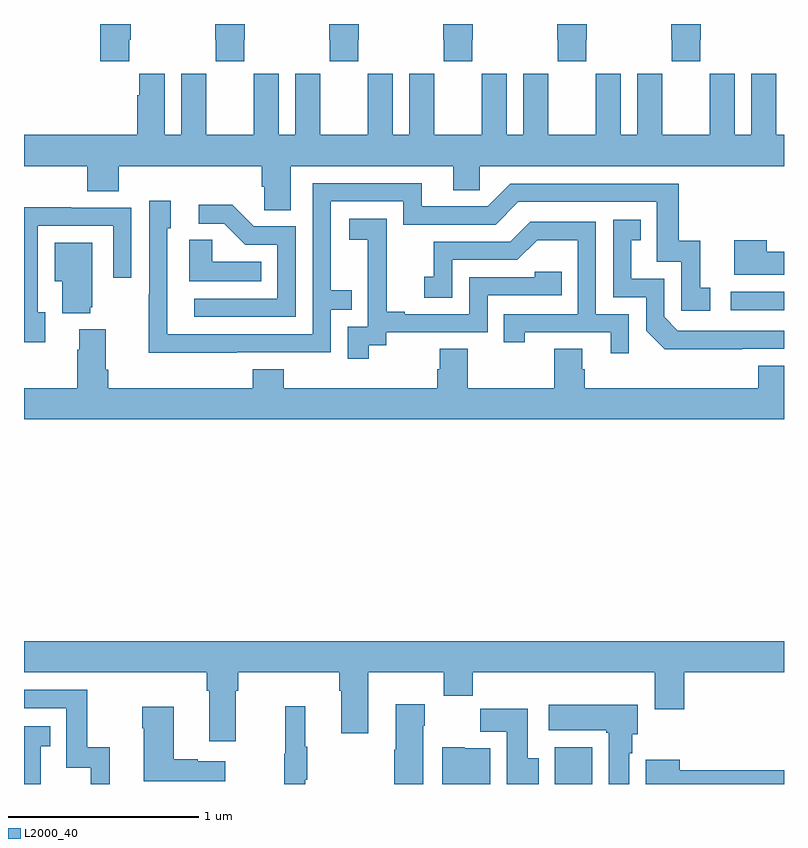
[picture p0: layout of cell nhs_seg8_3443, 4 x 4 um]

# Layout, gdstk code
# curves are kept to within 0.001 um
import gdstk
lib = gdstk.Library(unit=1e-6, precision=1e-09)
def R(c, l, rs):  # rectangles x0, y0, x1, y1
    for r in rs: c.add(gdstk.rectangle(r[:2], r[2:], *l))
def P(c, l, *ps):  # polygons
    for p in ps: c.add(gdstk.Polygon(p, *l))
L2000_40 = (2000, 40)

nhs_seg8_3443 = lib.new_cell('nhs_seg8_3443')
R(nhs_seg8_3443, L2000_40, [(325.793,1127.9,325.99,1128.094), (326.721,1130.394,327,1130.49)])
P(nhs_seg8_3443, L2000_40, [(326.559,1131.817),(326.562,1131.817),(326.562,1131.9),(326.407,1131.9),(326.407,1131.817),(326.409,1131.817),(326.409,1131.705),(326.559,1131.705)],
  [(325.959,1131.817),(325.962,1131.817),(325.962,1131.9),(325.807,1131.9),(325.807,1131.817),(325.809,1131.817),(325.809,1131.705),(325.959,1131.705)],
  [(325.359,1131.817),(325.362,1131.817),(325.362,1131.9),(325.207,1131.9),(325.207,1131.817),(325.209,1131.817),(325.209,1131.705),(325.359,1131.705)],
  [(324.759,1131.817),(324.762,1131.817),(324.762,1131.9),(324.607,1131.9),(324.607,1131.817),(324.609,1131.817),(324.609,1131.705),(324.759,1131.705)],
  [(324.159,1131.817),(324.162,1131.817),(324.162,1131.9),(324.007,1131.9),(324.007,1131.817),(324.009,1131.817),(324.009,1131.705),(324.159,1131.705)],
  [(323.555,1131.817),(323.562,1131.817),(323.562,1131.9),(323.402,1131.9),(323.402,1131.705),(323.555,1131.705)],
  [(324.403,1131.152),(325.259,1131.152),(325.259,1131.025),(325.398,1131.025),(325.398,1131.152),(327,1131.152),(327,1131.316),(326.959,1131.316),(326.959,1131.524),(326.958,1131.524),(326.958,1131.637),(326.828,1131.637),(326.828,1131.316),(326.74,1131.316),(326.74,1131.637),(326.61,1131.637),(326.61,1131.524),(326.609,1131.524),(326.609,1131.316),(326.359,1131.316),(326.359,1131.524),(326.358,1131.524),(326.358,1131.637),(326.228,1131.637),(326.228,1131.316),(326.14,1131.316),(326.14,1131.637),(326.01,1131.637),(326.01,1131.524),(326.009,1131.524),(326.009,1131.316),(325.759,1131.316),(325.759,1131.524),(325.758,1131.524),(325.758,1131.637),(325.628,1131.637),(325.628,1131.316),(325.54,1131.316),(325.54,1131.637),(325.41,1131.637),(325.41,1131.524),(325.409,1131.524),(325.409,1131.316),(325.159,1131.316),(325.159,1131.524),(325.158,1131.524),(325.158,1131.637),(325.028,1131.637),(325.028,1131.316),(324.94,1131.316),(324.94,1131.637),(324.81,1131.637),(324.81,1131.524),(324.809,1131.524),(324.809,1131.316),(324.559,1131.316),(324.559,1131.524),(324.558,1131.524),(324.558,1131.637),(324.428,1131.637),(324.428,1131.316),(324.34,1131.316),(324.34,1131.637),(324.21,1131.637),(324.21,1131.524),(324.209,1131.524),(324.209,1131.316),(323.959,1131.316),(323.959,1131.524),(323.958,1131.524),(323.958,1131.637),(323.828,1131.637),(323.828,1131.316),(323.74,1131.316),(323.74,1131.637),(323.606,1131.637),(323.606,1131.524),(323.597,1131.524),(323.597,1131.316),(323,1131.316),(323,1131.152),(323.333,1131.152),(323.333,1131.019),(323.498,1131.019),(323.498,1131.152),(324.251,1131.152),(324.251,1131.043),(324.264,1131.043),(324.264,1130.92),(324.403,1130.92)],
  [(324.119,1130.172),(324.615,1130.172),(324.615,1130.397),(324.725,1130.397),(324.725,1130.498),(324.615,1130.498),(324.615,1130.967),(324.996,1130.967),(324.996,1130.844),(325.482,1130.844),(325.602,1130.964),(326.331,1130.964),(326.331,1130.649),(326.46,1130.649),(326.46,1130.391),(326.611,1130.391),(326.611,1130.511),(326.558,1130.511),(326.558,1130.758),(326.447,1130.758),(326.447,1131.06),(325.56,1131.06),(325.44,1130.94),(325.093,1130.94),(325.093,1131.063),(324.519,1131.063),(324.519,1130.268),(323.754,1130.268),(323.754,1130.826),(323.773,1130.826),(323.773,1130.971),(323.658,1130.971),(323.658,1130.477),(323.656,1130.477),(323.656,1130.171)],
  [(324.429,1130.835),(324.21,1130.835),(324.097,1130.948),(323.919,1130.948),(323.919,1130.85),(324.053,1130.85),(324.164,1130.739),(324.333,1130.739),(324.333,1130.454),(323.895,1130.454),(323.895,1130.358),(324.429,1130.358)],
  [(323.113,1130.382),(323.073,1130.382),(323.073,1130.838),(323.469,1130.838),(323.469,1130.565),(323.565,1130.565),(323.565,1130.934),(323.249,1130.934),(323.249,1130.936),(323,1130.936),(323,1130.226),(323.113,1130.226)],
  [(324.814,1130.209),(324.906,1130.209),(324.906,1130.277),(325.44,1130.277),(325.44,1130.472),(325.829,1130.472),(325.829,1130.595),(325.689,1130.595),(325.689,1130.568),(325.344,1130.568),(325.344,1130.373),(325.003,1130.373),(325.003,1130.386),(324.908,1130.386),(324.908,1130.669),(324.909,1130.669),(324.909,1130.875),(324.711,1130.875),(324.711,1130.765),(324.809,1130.765),(324.809,1130.537),(324.81,1130.537),(324.81,1130.307),(324.705,1130.307),(324.705,1130.139),(324.814,1130.139)],
  [(326.78,1130.19),(327,1130.19),(327,1130.286),(326.442,1130.286),(326.37,1130.358),(326.37,1130.559),(326.197,1130.559),(326.197,1130.763),(326.246,1130.763),(326.246,1130.869),(326.1,1130.869),(326.1,1130.463),(326.274,1130.463),(326.274,1130.286),(326.372,1130.189)],
  [(326.184,1130.373),(326.01,1130.373),(326.01,1130.859),(325.664,1130.859),(325.559,1130.754),(325.156,1130.754),(325.156,1130.569),(325.107,1130.569),(325.107,1130.46),(325.254,1130.46),(325.254,1130.658),(325.596,1130.658),(325.7,1130.762),(325.914,1130.762),(325.914,1130.373),(325.525,1130.373),(325.525,1130.226),(325.636,1130.226),(325.636,1130.277),(326.087,1130.277),(326.087,1130.166),(326.184,1130.166)],
  [(324.248,1130.65),(323.991,1130.65),(323.991,1130.765),(323.87,1130.765),(323.87,1130.546),(324.248,1130.546)],
  [(327,1130.701),(326.909,1130.701),(326.909,1130.761),(326.738,1130.761),(326.738,1130.579),(327,1130.579)],
  [(323.348,1130.409),(323.359,1130.409),(323.359,1130.749),(323.162,1130.749),(323.162,1130.546),(323.201,1130.546),(323.201,1130.378),(323.348,1130.378)],
  [(327,1130.101),(326.864,1130.101),(326.864,1129.984),(325.952,1129.984),(325.952,1130.082),(325.939,1130.082),(325.939,1130.192),(325.792,1130.192),(325.792,1129.984),(325.335,1129.984),(325.335,1130.192),(325.187,1130.192),(325.187,1130.082),(325.175,1130.082),(325.175,1129.984),(324.368,1129.984),(324.368,1130.083),(324.203,1130.083),(324.203,1129.984),(323.444,1129.984),(323.444,1130.08),(323.431,1130.08),(323.431,1130.293),(323.291,1130.293),(323.291,1130.186),(323.279,1130.186),(323.279,1129.984),(323,1129.984),(323,1129.82),(327,1129.82)],
  [(324.115,1128.392),(324.128,1128.392),(324.128,1128.488),(324.659,1128.488),(324.659,1128.392),(324.671,1128.392),(324.671,1128.168),(324.811,1128.168),(324.811,1128.488),(325.21,1128.488),(325.21,1128.364),(325.361,1128.364),(325.361,1128.488),(326.321,1128.488),(326.321,1128.294),(326.474,1128.294),(326.474,1128.488),(327,1128.488),(327,1128.652),(323,1128.652),(323,1128.488),(323.963,1128.488),(323.963,1128.392),(323.975,1128.392),(323.975,1128.126),(324.115,1128.126)],
  [(323.45,1128.094),(323.332,1128.094),(323.332,1128.396),(323,1128.396),(323,1128.3),(323.223,1128.3),(323.223,1127.985),(323.352,1127.985),(323.352,1127.9),(323.45,1127.9)],
  [(325.102,1128.206),(325.11,1128.206),(325.11,1128.319),(324.956,1128.319),(324.956,1128.08),(324.949,1128.08),(324.949,1127.9),(325.102,1127.9)],
  [(326.185,1128.062),(326.2,1128.062),(326.2,1128.162),(326.23,1128.162),(326.23,1128.316),(325.761,1128.316),(325.761,1128.182),(326.065,1128.182),(326.065,1128.169),(326.078,1128.169),(326.078,1127.9),(326.185,1127.9)],
  [(324.479,1127.923),(324.49,1127.923),(324.49,1128.097),(324.479,1128.097),(324.479,1128.31),(324.376,1128.31),(324.376,1128.06),(324.369,1128.06),(324.369,1127.9),(324.479,1127.9)],
  [(324.058,1128.019),(323.915,1128.019),(323.915,1128.029),(323.788,1128.029),(323.788,1128.307),(323.623,1128.307),(323.623,1128.194),(323.63,1128.194),(323.63,1127.915),(324.058,1127.915)],
  [(325.708,1128.036),(325.651,1128.036),(325.651,1128.295),(325.402,1128.295),(325.402,1128.176),(325.541,1128.176),(325.541,1127.9),(325.708,1127.9)],
  [(323.089,1128.099),(323.138,1128.099),(323.138,1128.205),(323,1128.205),(323,1127.9),(323.089,1127.9)],
  [(325.453,1128.088),(325.32,1128.088),(325.32,1128.094),(325.202,1128.094),(325.202,1127.9),(325.453,1127.9)],
  [(327,1127.972),(326.452,1127.972),(326.452,1128.028),(326.273,1128.028),(326.273,1127.9),(327,1127.9)])

lib.write_gds('nhs_seg8_3443.gds')
